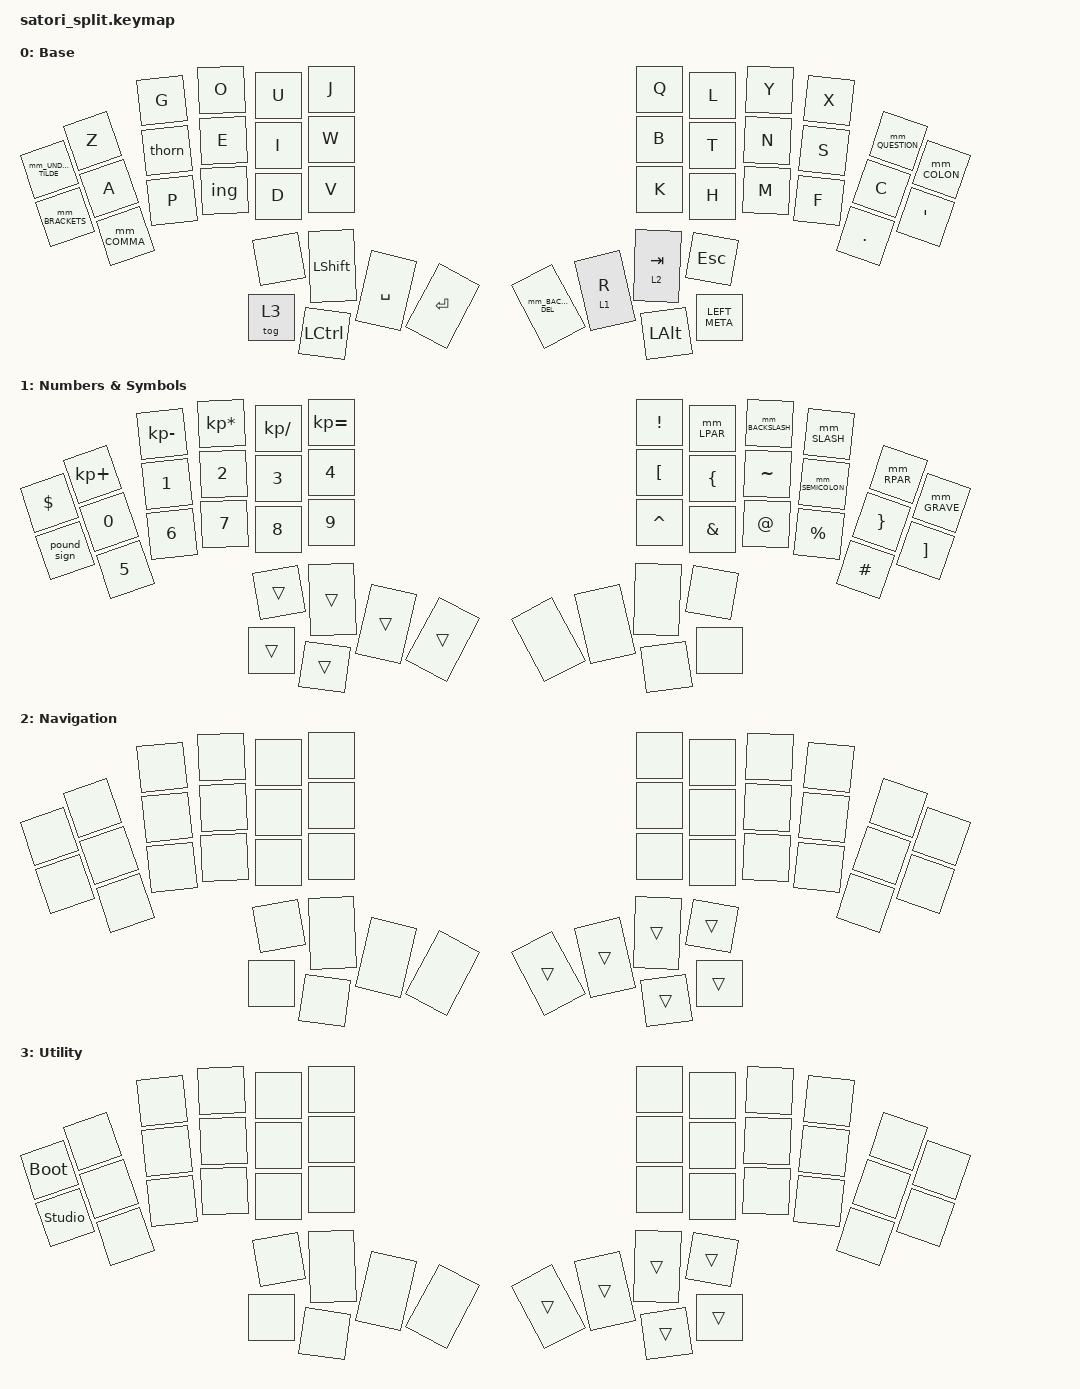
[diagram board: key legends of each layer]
#include <behaviors.dtsi>
#include <dt-bindings/zmk/keys.h>
#include <dt-bindings/zmk/behaviors.h>

/ {
    keymap {
        compatible = "zmk,keymap";

        default_layer { /*Layer 0*/
            display-name = "Base";
            /*
                                                                                                      Keyboard Layout Diagram
            ┌───────────────┬───────────────┬───────────────┬───────────────┬───────────────┬───────────────┐         ┌───────────────┬───────────────┬───────────────┬───────────────┬───────────────┬───────────────┐
            │     _ / ~     │       Z       │       G       │       O       │       U       │       J       │         │       Q       │       L       │       Y       │       X       │     ? / !     │     : / ;     │
            └───────────────┴───────────────┴───────────────┴───────────────┴───────────────┴───────────────┘         └───────────────┴───────────────┴───────────────┴───────────────┴───────────────┴───────────────┘
            ┌───────────────┬───────────────┬───────────────┬───────────────┬───────────────┬───────────────┐         ┌───────────────┬───────────────┬───────────────┬───────────────┬───────────────┬───────────────┐
            │     ( / )     │       A       │       Þ       │       E       │       I       │       W       │         │       B       │       T       │       N       │       S       │       C       │     ' / "     │
            └───────────────┴───────────────┴───────────────┴───────────────┴───────────────┴───────────────┘         └───────────────┴───────────────┴───────────────┴───────────────┴───────────────┴───────────────┘
                            ┌───────────────┬───────────────┬───────────────┬───────────────┬───────────────┐         ┌───────────────┬───────────────┬───────────────┬───────────────┬───────────────┐
                            │       ,       │       P       │      ING      │       D       │       V       │         │       K       │       H       │       M       │       F       │       .       │
                            └───────────────┴───────────────┴───────────────┴───────────────┴───────────────┘         └───────────────┴───────────────┴───────────────┴───────────────┴───────────────┘
            ┌───────────────┬───────────────┬───────────────┬───────────────┬───────────────┬───────────────┐         ┌───────────────┬───────────────┬───────────────┬───────────────┬───────────────┬───────────────┐
            │               │      L3       │     SHIFT     │      CTRL     │     SPACE     │     RETURN    │         │  BACKSP / DEL │     R / L1    │      ALT      │   TAB / L2    │     META      │      ESC      │
            └───────────────┴───────────────┴───────────────┴───────────────┴───────────────┴───────────────┘         └───────────────┴───────────────┴───────────────┴───────────────┴───────────────┴───────────────┘
            */

            bindings = <
                                                 &mm_UNDERSCORE_TILDE   &kp Z   &kp G   &kp O   &kp U   &kp J          &kp Q   &kp L   &kp Y   &kp X   &mm_QUESTION   &mm_COLON
                                                        &mm_BRACKETS   &kp A   &thorn   &kp E   &kp I   &kp W          &kp B   &kp T   &kp N   &kp S   &kp C   &kp APOSTROPHE
                                                                     &mm_COMMA   &kp P   &ing   &kp D   &kp V          &kp K   &kp H   &kp M   &kp F   &kp PERIOD
                                  &none   &tog 3   &kp LEFT_SHIFT   &kp LEFT_CONTROL   &kp SPACE   &kp RETURN          &mm_BACKSPACE_DEL   &lt 1 R   &kp LEFT_ALT   &lt 2 TAB   &kp LEFT_META   &kp ESC
            >;
        };

        numbers_symbols_layer { /*Layer 1*/
            display-name = "Numbers & Symbols";
            /*
                                                                                                      Keyboard Layout Diagram
            ┌───────────────┬───────────────┬───────────────┬───────────────┬───────────────┬───────────────┐         ┌───────────────┬───────────────┬───────────────┬───────────────┬───────────────┬───────────────┐
            │       $       │       +       │       -       │       *       │       /       │       =       │         │       !       │     ( / <     │       \       │       /       │     ) / >     │     | / `     │
            └───────────────┴───────────────┴───────────────┴───────────────┴───────────────┴───────────────┘         └───────────────┴───────────────┴───────────────┴───────────────┴───────────────┴───────────────┘
            ┌───────────────┬───────────────┬───────────────┬───────────────┬───────────────┬───────────────┐         ┌───────────────┬───────────────┬───────────────┬───────────────┬───────────────┬───────────────┐
            │       £       │       0       │       1       │       2       │       3       │       4       │         │       [       │       {       │       ~       │       ;       │       }       │       ]       │
            └───────────────┴───────────────┴───────────────┴───────────────┴───────────────┴───────────────┘         └───────────────┴───────────────┴───────────────┴───────────────┴───────────────┴───────────────┘
                            ┌───────────────┬───────────────┬───────────────┬───────────────┬───────────────┐         ┌───────────────┬───────────────┬───────────────┬───────────────┬───────────────┐
                            │       5       │       6       │       7       │       8       │       9       │         │       ^       │       &       │       @       │       %       │       #       │
                            └───────────────┴───────────────┴───────────────┴───────────────┴───────────────┘         └───────────────┴───────────────┴───────────────┴───────────────┴───────────────┘
            ┌───────────────┬───────────────┬───────────────┬───────────────┬───────────────┬───────────────┐         ┌───────────────┬───────────────┬───────────────┬───────────────┬───────────────┬───────────────┐
            │     TRANS     │     TRANS     │     TRANS     │     TRANS     │     TRANS     │     TRANS     │         │      NONE     │      NONE     │      NONE     │      NONE     │      NONE     │      NONE     │
            └───────────────┴───────────────┴───────────────┴───────────────┴───────────────┴───────────────┘         └───────────────┴───────────────┴───────────────┴───────────────┴───────────────┴───────────────┘
            */
            bindings = <
                     &kp DOLLAR   &kp KP_PLUS   &kp KP_MINUS   &kp KP_MULTIPLY   &kp KP_DIVIDE   &kp KP_EQUAL         &kp EXCLAMATION   &mm_LPAR   &mm_BACKSLASH    &mm_SLASH   &mm_RPAR   &mm_GRAVE
                       &pound_sign   &kp NUMBER_0   &kp NUMBER_1   &kp NUMBER_2   &kp NUMBER_3   &kp NUMBER_4         &kp LEFT_BRACKET   &kp LEFT_BRACE   &kp TILDE   &mm_SEMICOLON   &kp RIGHT_BRACE   &kp RIGHT_BRACKET
                                     &kp NUMBER_5   &kp NUMBER_6   &kp NUMBER_7   &kp NUMBER_8   &kp NUMBER_9         &kp CARET   &kp AMPERSAND   &kp AT   &kp PERCENT   &kp HASH
                                                          &trans   &trans   &trans   &trans   &trans   &trans         &none   &none   &none   &none   &none   &none
            >;
        };

        navigation_layer { /*Layer 2*/
            display-name = "Navigation";
            /*
                                                                                                      Keyboard Layout Diagram
            ┌───────────────┬───────────────┬───────────────┬───────────────┬───────────────┬───────────────┐         ┌───────────────┬───────────────┬───────────────┬───────────────┬───────────────┬───────────────┐
            │     BLANK     │     BLANK     │     BLANK     │     BLANK     │     BLANK     │     BLANK     │         │     BLANK     │     BLANK     │     BLANK     │     BLANK     │     BLANK     │     BLANK     │
            └───────────────┴───────────────┴───────────────┴───────────────┴───────────────┴───────────────┘         └───────────────┴───────────────┴───────────────┴───────────────┴───────────────┴───────────────┘
            ┌───────────────┬───────────────┬───────────────┬───────────────┬───────────────┬───────────────┐         ┌───────────────┬───────────────┬───────────────┬───────────────┬───────────────┬───────────────┐
            │     BLANK     │     BLANK     │     BLANK     │     BLANK     │     BLANK     │     BLANK     │         │     BLANK     │     BLANK     │     BLANK     │     BLANK     │     BLANK     │     BLANK     │
            └───────────────┴───────────────┴───────────────┴───────────────┴───────────────┴───────────────┘         └───────────────┴───────────────┴───────────────┴───────────────┴───────────────┴───────────────┘
                            ┌───────────────┬───────────────┬───────────────┬───────────────┬───────────────┐         ┌───────────────┬───────────────┬───────────────┬───────────────┬───────────────┐
                            │     BLANK     │     BLANK     │     BLANK     │     BLANK     │     BLANK     │         │     BLANK     │     BLANK     │     BLANK     │     BLANK     │     BLANK     │
                            └───────────────┴───────────────┴───────────────┴───────────────┴───────────────┘         └───────────────┴───────────────┴───────────────┴───────────────┴───────────────┘
            ┌───────────────┬───────────────┬───────────────┬───────────────┬───────────────┬───────────────┐         ┌───────────────┬───────────────┬───────────────┬───────────────┬───────────────┬───────────────┐
            │     TRANS     │     TRANS     │     TRANS     │     TRANS     │     TRANS     │     TRANS     │         │      NONE     │      NONE     │      NONE     │      NONE     │      NONE     │      NONE     │
            └───────────────┴───────────────┴───────────────┴───────────────┴───────────────┴───────────────┘         └───────────────┴───────────────┴───────────────┴───────────────┴───────────────┴───────────────┘
            */
            bindings = <
                                                                &none   &none   &none   &none   &none   &none         &none   &none   &none   &none   &none   &none
                                                                &none   &none   &none   &none   &none   &none         &none   &none   &none   &none   &none   &none
                                                                        &none   &none   &none   &none   &none         &none   &none   &none   &none   &none
                                                                &none   &none   &none   &none   &none   &none         &trans   &trans   &trans   &trans   &trans   &trans
            >;
        };

        utility_layer { /*Layer 3*/
            display-name = "Utility";
            /*
                                                                                                      Keyboard Layout Diagram
            ┌───────────────┬───────────────┬───────────────┬───────────────┬───────────────┬───────────────┐         ┌───────────────┬───────────────┬───────────────┬───────────────┬───────────────┬───────────────┐
            │  BOOTLOADER   │     BLANK     │     BLANK     │     BLANK     │     BLANK     │     BLANK     │         │     BLANK     │     BLANK     │     BLANK     │     BLANK     │     BLANK     │     BLANK     │
            └───────────────┴───────────────┴───────────────┴───────────────┴───────────────┴───────────────┘         └───────────────┴───────────────┴───────────────┴───────────────┴───────────────┴───────────────┘
            ┌───────────────┬───────────────┬───────────────┬───────────────┬───────────────┬───────────────┐         ┌───────────────┬───────────────┬───────────────┬───────────────┬───────────────┬───────────────┐
            │    STUDIO     │     BLANK     │     BLANK     │     BLANK     │     BLANK     │     BLANK     │         │     BLANK     │     BLANK     │     BLANK     │     BLANK     │     BLANK     │     BLANK     │
            └───────────────┴───────────────┴───────────────┴───────────────┴───────────────┴───────────────┘         └───────────────┴───────────────┴───────────────┴───────────────┴───────────────┴───────────────┘
                            ┌───────────────┬───────────────┬───────────────┬───────────────┬───────────────┐         ┌───────────────┬───────────────┬───────────────┬───────────────┬───────────────┐
                            │     BLANK     │     BLANK     │     BLANK     │     BLANK     │     BLANK     │         │     BLANK     │     BLANK     │     BLANK     │     BLANK     │     BLANK     │
                            └───────────────┴───────────────┴───────────────┴───────────────┴───────────────┘         └───────────────┴───────────────┴───────────────┴───────────────┴───────────────┘
            ┌───────────────┬───────────────┬───────────────┬───────────────┬───────────────┬───────────────┐         ┌───────────────┬───────────────┬───────────────┬───────────────┬───────────────┬───────────────┐
            │     TRANS     │     TRANS     │     TRANS     │     TRANS     │     TRANS     │     TRANS     │         │      NONE     │      NONE     │      NONE     │      NONE     │      NONE     │      NONE     │
            └───────────────┴───────────────┴───────────────┴───────────────┴───────────────┴───────────────┘         └───────────────┴───────────────┴───────────────┴───────────────┴───────────────┴───────────────┘
            */
            bindings = <
                                                          &bootloader   &none   &none   &none   &none   &none         &none   &none   &none   &none   &none   &none
                                                       &studio_unlock   &none   &none   &none   &none   &none         &none   &none   &none   &none   &none   &none
                                                                        &none   &none   &none   &none   &none         &none   &none   &none   &none   &none
                                                                &none   &none   &none   &none   &none   &none         &trans   &trans   &trans   &trans   &trans   &trans
            >;
        };

        /*blank_layer { *//*Layer #*//*
            display-name = "Layer";
            *//*
                                                                                                      Keyboard Layout Diagram
            ┌───────────────┬───────────────┬───────────────┬───────────────┬───────────────┬───────────────┐         ┌───────────────┬───────────────┬───────────────┬───────────────┬───────────────┬───────────────┐
            │     BLANK     │     BLANK     │     BLANK     │     BLANK     │     BLANK     │     BLANK     │         │     BLANK     │     BLANK     │     BLANK     │     BLANK     │     BLANK     │     BLANK     │
            └───────────────┴───────────────┴───────────────┴───────────────┴───────────────┴───────────────┘         └───────────────┴───────────────┴───────────────┴───────────────┴───────────────┴───────────────┘
            ┌───────────────┬───────────────┬───────────────┬───────────────┬───────────────┬───────────────┐         ┌───────────────┬───────────────┬───────────────┬───────────────┬───────────────┬───────────────┐
            │     BLANK     │     BLANK     │     BLANK     │     BLANK     │     BLANK     │     BLANK     │         │     BLANK     │     BLANK     │     BLANK     │     BLANK     │     BLANK     │     BLANK     │
            └───────────────┴───────────────┴───────────────┴───────────────┴───────────────┴───────────────┘         └───────────────┴───────────────┴───────────────┴───────────────┴───────────────┴───────────────┘
                            ┌───────────────┬───────────────┬───────────────┬───────────────┬───────────────┐         ┌───────────────┬───────────────┬───────────────┬───────────────┬───────────────┐
                            │     BLANK     │     BLANK     │     BLANK     │     BLANK     │     BLANK     │         │     BLANK     │     BLANK     │     BLANK     │     BLANK     │     BLANK     │
                            └───────────────┴───────────────┴───────────────┴───────────────┴───────────────┘         └───────────────┴───────────────┴───────────────┴───────────────┴───────────────┘
            ┌───────────────┬───────────────┬───────────────┬───────────────┬───────────────┬───────────────┐         ┌───────────────┬───────────────┬───────────────┬───────────────┬───────────────┬───────────────┐
            │     TRANS     │     TRANS     │     TRANS     │     TRANS     │     TRANS     │     TRANS     │         │      NONE     │      NONE     │      NONE     │      NONE     │      NONE     │      NONE     │
            └───────────────┴───────────────┴───────────────┴───────────────┴───────────────┴───────────────┘         └───────────────┴───────────────┴───────────────┴───────────────┴───────────────┴───────────────┘
            *//*
            bindings = <
                                                          &bootloader   &none   &none   &none   &none   &none         &none   &none   &none   &none   &none   &none
                                                       &studio_unlock   &none   &none   &none   &none   &none         &none   &none   &none   &none   &none   &none
                                                                        &none   &none   &none   &none   &none         &none   &none   &none   &none   &none
                                                          &trans   &trans   &trans   &trans   &trans   &trans         &none   &none   &none   &none   &none   &none
            >;
        };*/
    };
};

/ {
    macros {
        thorn: thorn {
            compatible = "zmk,behavior-macro";
            #binding-cells = <0>;
            bindings
                = <&macro_tap &kp T &kp H>
                ;
        };
        ing: ing {
            compatible = "zmk,behavior-macro";
            #binding-cells = <0>;
            bindings
                = <&macro_tap &kp I &kp N &kp G>
                ;
        };
        pound_sign: pound_sign {
            compatible = "zmk,behavior-macro";
            #binding-cells = <0>;
            tap-ms = <0>;
            wait-ms = <0>;
            bindings
                = <&macro_press &kp LCTL &kp LSFT>
                , <&macro_tap &kp U>
                , <&macro_release &kp LCTL &kp LSFT>
                , <&macro_tap &kp NUMBER_0 &kp NUMBER_0 &kp A &kp NUMBER_3 &kp SPACE>
                ;
        };
    };
};

/ {
    behaviors {

        mm_BACKSPACE_DEL: backspace_delete {
            compatible = "zmk,behavior-mod-morph";
            #binding-cells = <0>;
            bindings = <&kp BKSP>, <&kp DEL>;
            mods = <MOD_LSFT>;
        };

        mm_COMMA: mod_morph_comma {
            compatible = "zmk,behavior-mod-morph";
            #binding-cells = <0>;
            bindings = <&kp COMMA>, <&none>;
            mods = <MOD_LSFT>;
        };

        mm_GRAVE: mod_morph_grave {
            compatible = "zmk,behavior-mod-morph";
            #binding-cells = <0>;
            bindings = <&kp GRAVE>, <&none>;
            mods = <MOD_LSFT>;
        };

        mm_BACKSLASH: mod_morph_backslash {
            compatible = "zmk,behavior-mod-morph";
            #binding-cells = <0>;
            bindings = <&kp BACKSLASH>, <&none>;
            mods = <MOD_LSFT>;
        };

        mm_SLASH: mod_morph_slash {
            compatible = "zmk,behavior-mod-morph";
            #binding-cells = <0>;
            bindings = <&kp SLASH>, <&none>;
            mods = <MOD_LSFT>;
        };

        mm_QUESTION: mod_morph_question_exclamation_mark {
            compatible = "zmk,behavior-mod-morph";
            #binding-cells = <0>;
            bindings = <&kp QUESTION>, <&kp EXCLAMATION>;
            mods = <MOD_LSFT>;
        };

        mm_COLON: mod_morph_colon_semi_colon {
            compatible = "zmk,behavior-mod-morph";
            #binding-cells = <0>;
            bindings = <&kp COLON>, <&kp SEMICOLON>;
            mods = <MOD_LSFT>;
        };

        mm_SEMICOLON: mod_morph_semi_colon {
            compatible = "zmk,behavior-mod-morph";
            #binding-cells = <0>;
            bindings = <&kp SEMICOLON>, <&none>;
            mods = <MOD_LSFT>;
        };

        mm_BRACKETS: mod_morph_left_right_bracket {
            compatible = "zmk,behavior-mod-morph";
            #binding-cells = <0>;
            bindings = <&kp LPAR>, <&kp RPAR>;
            mods = <MOD_LSFT>;
        };

        mm_UNDERSCORE_TILDE: mod_morph_underscore_tilde {
            compatible = "zmk,behavior-mod-morph";
            #binding-cells = <0>;
            bindings = <&kp UNDERSCORE>, <&kp TILDE>;
            mods = <MOD_LSFT>;
        };

        mm_LPAR: mod_morph_left_parentheses_less_than {
            compatible = "zmk,behavior-mod-morph";
            #binding-cells = <0>;
            bindings = <&kp LPAR>, <&kp LESS_THAN>;
            mods = <MOD_LSFT>;
        };

        mm_RPAR: mod_morph_right_parentheses_greater_than {
            compatible = "zmk,behavior-mod-morph";
            #binding-cells = <0>;
            bindings = <&kp RPAR>, <&kp GREATER_THAN>;
            mods = <MOD_LSFT>;
        };

        mm_PIPE: mod_morph_pipe_grave{
            compatible = "zmk,behavior-mod-morph";
            #binding-cells = <0>;
            bindings = <&kp PIPE>, <&kp GRAVE>;
            mods = <MOD_LSFT>;
        };
    };
};
